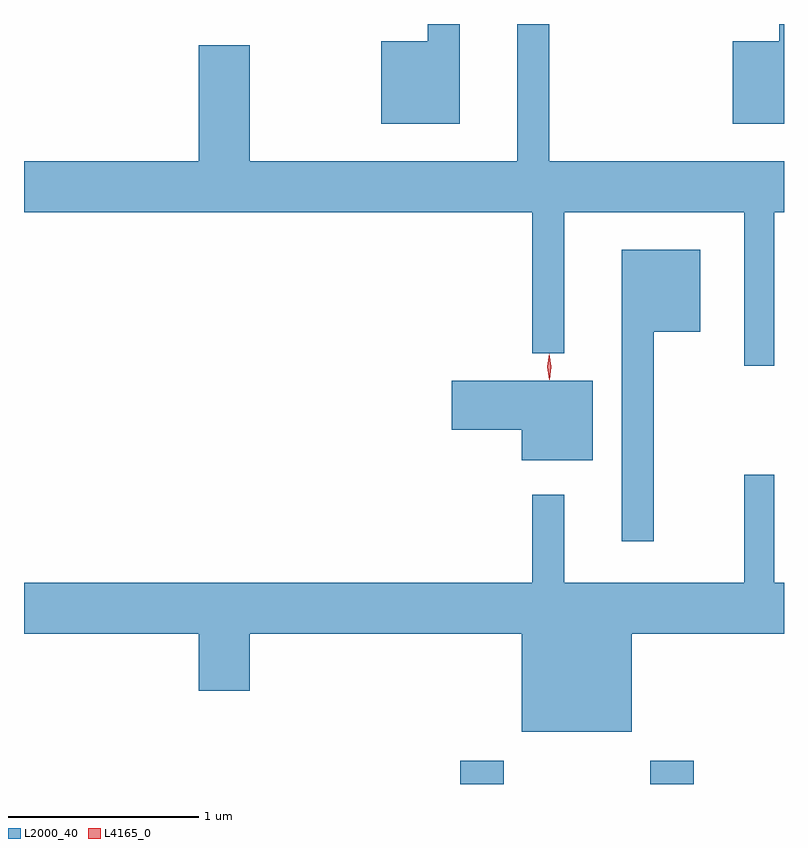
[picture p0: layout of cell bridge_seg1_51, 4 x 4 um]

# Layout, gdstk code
import gdstk
lib = gdstk.Library(unit=1e-6, precision=1e-09)
def R(c, l, rs):  # rectangles x0, y0, x1, y1
    for r in rs: c.add(gdstk.rectangle(r[:2], r[2:], *l))
def P(c, l, *ps):  # polygons
    for p in ps: c.add(gdstk.Polygon(p, *l))
L2000_40 = (2000, 40)
L4165_0 = (4165, 0)

bridge_seg1_51 = lib.new_cell('bridge_seg1_51')
R(bridge_seg1_51, L2000_40, [(1904.761,841.066,1904.989,841.189), (1905.761,841.066,1905.989,841.189)])
P(bridge_seg1_51, L2000_40, [(1906.414,844.076),(1906.465,844.076),(1906.465,844.344),(1905.229,844.344),(1905.229,845.066),(1905.061,845.066),(1905.061,844.344),(1903.654,844.344),(1903.654,844.954),(1903.386,844.954),(1903.386,844.344),(1902.465,844.344),(1902.465,844.076),(1905.141,844.076),(1905.141,843.333),(1905.309,843.333),(1905.309,844.076),(1906.256,844.076),(1906.256,843.268),(1906.414,843.268)],
  [(1904.759,845.066),(1904.591,845.066),(1904.591,844.974),(1904.346,844.974),(1904.346,844.541),(1904.759,844.541)],
  [(1906.465,845.066),(1906.441,845.066),(1906.441,844.974),(1906.196,844.974),(1906.196,844.541),(1906.465,844.541)],
  [(1905.779,843.446),(1906.024,843.446),(1906.024,843.879),(1905.611,843.879),(1905.611,842.343),(1905.779,842.343)],
  [(1905.459,843.189),(1904.716,843.189),(1904.716,842.931),(1905.086,842.931),(1905.086,842.771),(1905.459,842.771)],
  [(1905.664,841.856),(1906.465,841.856),(1906.465,842.124),(1906.414,842.124),(1906.414,842.693),(1906.256,842.693),(1906.256,842.124),(1905.309,842.124),(1905.309,842.588),(1905.141,842.588),(1905.141,842.124),(1902.465,842.124),(1902.465,841.856),(1903.386,841.856),(1903.386,841.556),(1903.654,841.556),(1903.654,841.856),(1905.086,841.856),(1905.086,841.341),(1905.664,841.341)])
P(bridge_seg1_51, L4165_0, [(1905.23,843.194),(1905.22,843.262),(1905.23,843.33),(1905.23,843.33),(1905.23,843.33),(1905.24,843.262),(1905.231,843.194),(1905.231,843.194)],
  [(1905.231,843.2),(1905.231,843.201),(1905.221,843.263),(1905.23,843.326),(1905.23,843.327),(1905.23,843.326),(1905.24,843.264),(1905.232,843.201)])

lib.write_gds('bridge_seg1_51.gds')
